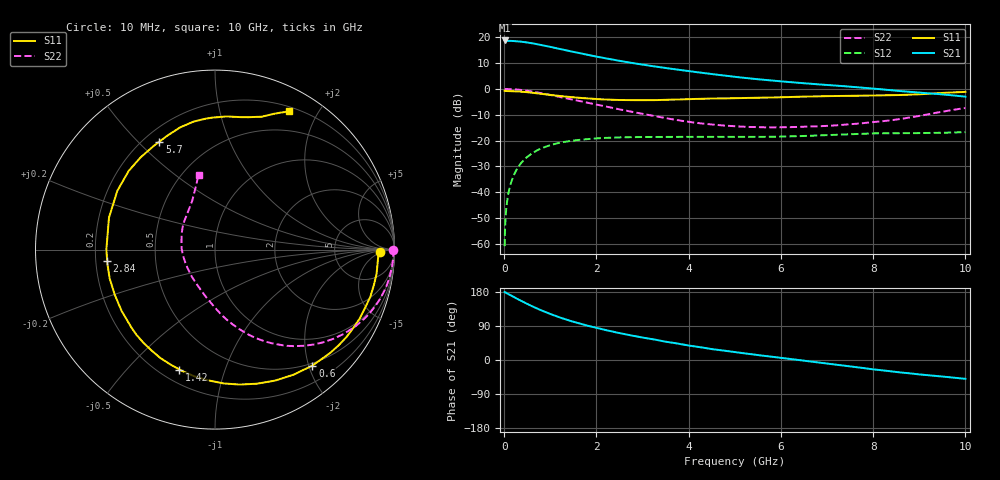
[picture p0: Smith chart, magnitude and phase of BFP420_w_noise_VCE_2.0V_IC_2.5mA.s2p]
! Infineon Technologies  Discrete & RF Semiconductors
! BFP420
! VCE =  2.0 V,  IC =  2.5 mA
! Common Emitter S-Parameters:  Jan 2016
# GHz  S  MA  R  50
!  f  S11  S21  S12  S22
! GHz  MAG  ANG  MAG  ANG  MAG  ANG  MAG  ANG
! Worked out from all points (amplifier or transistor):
!   233 points, 10 MHz to 10 GHz, reference 50 ohm
!   highest |S21| = 18.7 dB at 10 MHz (marker M1)
!   |S21| within 3 dB of that: start of sweep to 1.133 GHz
!   unconditionally stable (mu >= 1): 3.67 GHz to end of sweep
!   at 200 MHz: K = 0.04, MSG = 26.2 dB, |S12| = -33.9 dB
!   at 1.74 GHz: K = 0.41, MSG = 16.5 dB, |S12| = -19.5 dB
!   at 10 GHz: K = 1.19, MAG = 4.2 dB, |S12| = -16.8 dB
!   lowest NFmin = 0.55 dB at 900 MHz
!   S11 on the Smith chart (normalised r, x): 10 MHz: 23, -5; 600 MHz: 0.46, -2.06; 1.42 GHz: 0.27, -0.71; 2.84 GHz: 0.25, -0.05; 5.7 GHz: 0.26, +0.58; 10 GHz: 0.25, +1.64
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0.01  0.9192 -1.0  8.655 179.2  0.0009 126.1  0.9921 0.0
0.02  0.9109 -1.7  8.427 179.0  0.0021 91.2  0.9938 -0.9
0.045  0.9096 -3.8  8.457 177.1  0.0047 88.9  0.9938 -2.2
0.14  0.9073 -11.9  8.486 170.9  0.0143 83.2  0.9884 -7.0
0.28  0.8938 -23.8  8.329 161.6  0.0281 76.7  0.97 -13.9
0.38  0.8816 -32.1  8.172 155.4  0.0376 72.0  0.9498 -18.7
0.6  0.8439 -50.0  7.663 142.1  0.0562 62.2  0.8914 -28.7
0.8  0.8032 -65.3  7.087 131.2  0.0701 54.3  0.8278 -36.8
0.96  0.7705 -76.8  6.619 123.3  0.0792 48.6  0.7747 -42.6
1.2  0.7295 -93.0  5.948 112.5  0.0902 41.2  0.6982 -50.4
1.42  0.6969 -106.5  5.387 103.8  0.0977 35.3  0.6341 -56.5
1.68  0.6657 -121.2  4.816 94.7  0.1043 29.4  0.5662 -62.9
1.92  0.6437 -133.5  4.349 87.1  0.1087 24.7  0.5111 -68.3
2.2  0.6224 -146.8  3.9 79.0  0.1125 20.0  0.4549 -73.9
2.84  0.604 -174.0  3.103 62.9  0.1165 11.3  0.3495 -86.3
3.4  0.6105 166.5  2.61 50.7  0.1172 5.7  0.2814 -97.7
4.5  0.6509 137.5  1.936 28.8  0.1176 -1.6  0.2043 -126.5
5.1  0.6613 127.1  1.674 19.3  0.1174 -4.0  0.1868 -142.2
5.7  0.6764 117.3  1.477 10.2  0.118 -5.7  0.1798 -159.0
6.8  0.7161 102.0  1.226 -6.3  0.1252 -8.3  0.1885 171.3
8.4  0.7523 78.8  0.938 -30.2  0.1382 -17.5  0.2475 129.9
10  0.8739 61.8  0.707 -49.7  0.1451 -24.0  0.4267 102.4
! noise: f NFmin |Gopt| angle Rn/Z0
0.9  0.55  0.41  33  0.2
1.8  1.02  0.24  78  0.16
2.4  1.11  0.26  103  0.15
3  1.28  0.27  140  0.11
4  1.5  0.34  -163  0.1
5  1.85  0.4  -130  0.26
6  2.56  0.5  -109  0.35
